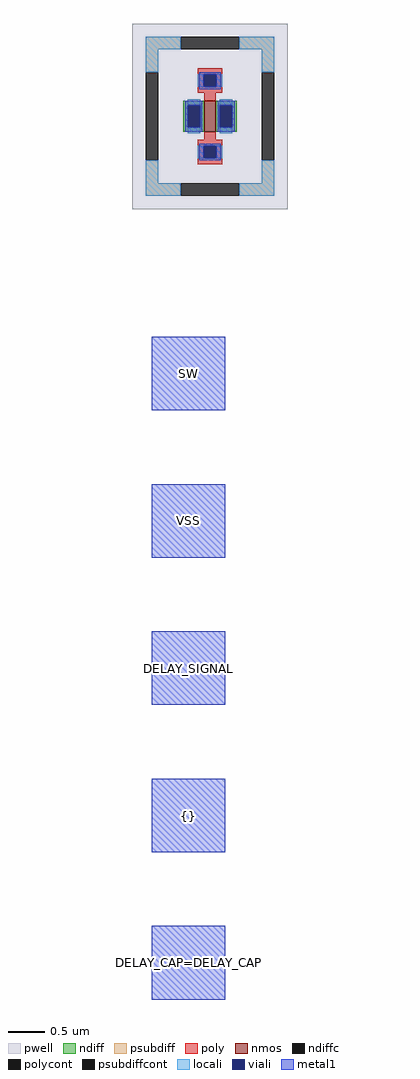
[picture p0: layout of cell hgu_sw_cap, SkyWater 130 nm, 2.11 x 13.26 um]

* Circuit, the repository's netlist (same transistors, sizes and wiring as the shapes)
* NGSPICE file created from hgu_sw_cap.ext - technology: sky130A

.subckt hgu_sw_cap SW CTOP delay_signal
X0 delay_signal SW x2.CBOT VSUBS sky130_fd_pr__nfet_01v8 ad=0.122 pd=1.42 as=0.122 ps=1.42 w=0.42 l=0.15
.ends

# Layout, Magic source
magic
tech sky130A
magscale 1 2
<< metal1 >>
rect 0 0 200 200
rect 0 -400 200 -200
rect 0 -800 200 -600
rect 0 -1200 200 -1000
rect 0 -1600 200 -1400
use sky130_fd_pr__nfet_01v8_L7T3GD  XM14
transform 1 0 158 0 1 799
box -211 -252 211 252
<< labels >>
flabel metal1 0 0 200 200 0 FreeSans 256 0 0 0 SW
port 0 nsew
flabel metal1 0 -400 200 -200 0 FreeSans 256 0 0 0 VSS
port 1 nsew
flabel metal1 0 -800 200 -600 0 FreeSans 256 0 0 0 DELAY_SIGNAL
port 2 nsew
flabel metal1 0 -1200 200 -1000 0 FreeSans 256 0 0 0 {}
port 3 nsew
flabel metal1 0 -1600 200 -1400 0 FreeSans 256 0 0 0 DELAY_CAP=DELAY_CAP
port 4 nsew
<< end >>

# cell sky130_fd_pr__nfet_01v8_L7T3GD: kit device sky130_fd_pr__nfet_01v8, w 0.42 l 0.15 m 1 nf 1 diffcov 100 polycov 100 guard 1 glc 1 grc 1 gtc 1 gbc 1 tbcov 100 rlcov 100 topc 1 botc 1 poverlap 0 doverlap 1 lmin 0.15 wmin 0.42 compatible {sky130_fd_pr__nfet_01v8 sky130_fd_pr__nfet_01v8_lvt sky130_fd_bs_flash__special_sonosfet_star sky130_fd_pr__nfet_g5v0d10v5 sky130_fd_pr__nfet_05v0_nvt sky130_fd_pr__nfet_03v3_nvt} full_metal 1 viasrc 100 viadrn 100 viagate 100 viagb 0 viagr 0 viagl 0 viagt 0
